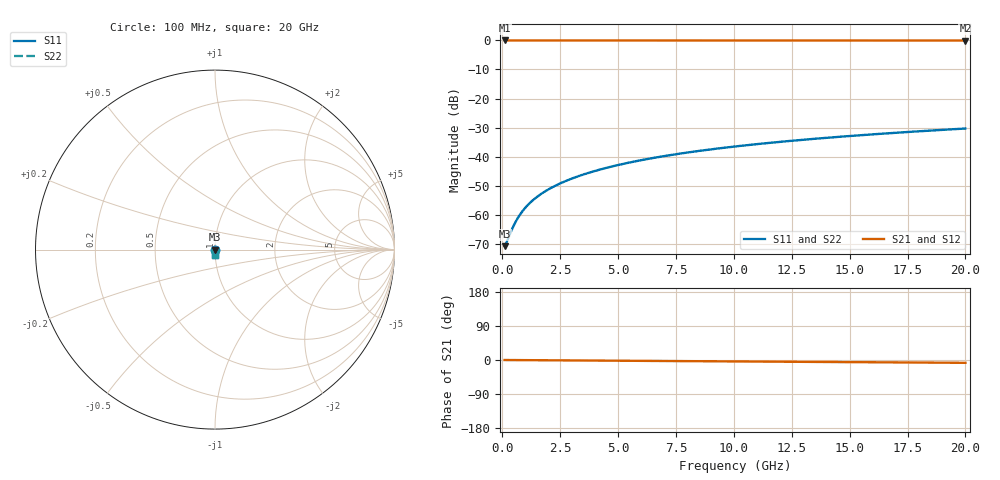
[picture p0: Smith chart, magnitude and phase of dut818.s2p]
! Touchstone file exported from HFSS 2026.1.0
!  File:  C:/ffzhzh/LocalFiles/Ansys_Project_Files/temp_train_TSV_818_1783184441_43440.aedt
!  Generated:  01:02:09 AM Jul  5, 2026
!  Design:  TSV
!  Project:  temp_train_TSV_818_1783184441_43440
! Variables:
!  h_bsmrdl = 2um
!  h_ox = 20um
!  h_rdl = 5um
!  h_sub = 78.14um
!  h_tmrdl = 5um
!  h_tsv = 78.14um
!  h_via = 3um
!  l_bsmrdl = 300um
!  l_sub = 412.6um
!  l_tmrdl = 200um
!  m_sub = 200um
!  pitch = 20.47um
!  r_tsv = 6.3um
!  s_tmrdl = 10um
!  w_bsmrdl = 18um
!  w_sub = 500um
!  w_tmrdl = 12um
!  x_tsv_center1 = 206um
!  x_tsv_center2 = 524um
!  x_tsv_center3 = 736um
!  x_tsv_center4 = 1054um
!  x_tsv_center5 = 1266um
!  x_tsv_center6 = 1584um
# GHz S MA R 50.000000
! Terminal data exported
! Port[1] = TSV1_1_T1
! Port[2] = TSV1_1_T2
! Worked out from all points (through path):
!   200 points, 100 MHz to 20 GHz, reference 50 ohm
!   highest |S21| = 0.00 dB at 100 MHz (marker M1); lowest = 0.0 dB at 20 GHz (marker M2)
!   group delay of S21, straight-line fit = 1.03 ps
!   lowest |S11| = -70.9 dB at 100 MHz (marker M3), VSWR 1.00, Z = 50 - j0.009 ohm
!   |S11| at or under -10 dB: start of sweep to end of sweep
!   |S22| runs from -70.9 to -30.3 dB; largest |S21 - S12| = 3.5e-15
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0.1  0.0002867 -18.3  0.9997 -0.0  0.9997 -0.0  0.0002867 -18.3
! Gamma 0 0 0 0
! Port Impedance 50 0 50 0
0.2  0.0003466 -32.5  0.9997 -0.1  0.9997 -0.1  0.0003466 -32.5
0.4  0.0005397 -49.2  0.9996 -0.2  0.9996 -0.2  0.0005397 -49.2
0.5  0.0006578 -54.3  0.9996 -0.2  0.9996 -0.2  0.0006578 -54.3
0.7  0.0009151 -61.3  0.9996 -0.3  0.9996 -0.3  0.0009151 -61.3
0.8  0.00105 -63.9  0.9995 -0.3  0.9995 -0.3  0.00105 -63.9
1  0.001325 -67.9  0.9995 -0.4  0.9995 -0.4  0.001325 -67.9
1.3  0.001744 -72.0  0.9994 -0.5  0.9994 -0.5  0.001744 -72.0
1.7  0.002308 -75.4  0.9994 -0.7  0.9994 -0.7  0.002308 -75.4
2.2  0.003021 -78.1  0.9993 -0.8  0.9993 -0.8  0.003021 -78.1
2.8  0.003887 -80.1  0.9992 -1.1  0.9992 -1.1  0.003887 -80.1
3.5  0.004913 -81.6  0.9992 -1.3  0.9992 -1.3  0.004913 -81.6
4.2  0.005953 -82.8  0.9991 -1.6  0.9991 -1.6  0.005953 -82.8
5  0.007158 -83.8  0.999 -1.9  0.999 -1.9  0.007158 -83.8
5.9  0.008527 -84.8  0.9989 -2.2  0.9989 -2.2  0.008527 -84.8
6.8  0.009906 -85.7  0.9988 -2.6  0.9988 -2.6  0.009906 -85.7
8.3  0.01222 -86.9  0.9986 -3.1  0.9986 -3.1  0.01222 -86.9
10.1  0.015 -88.3  0.9984 -3.8  0.9984 -3.8  0.015 -88.3
11.7  0.01748 -89.3  0.9983 -4.4  0.9983 -4.4  0.01748 -89.3
13.4  0.02012 -90.3  0.9981 -5.0  0.9981 -5.0  0.02012 -90.3
16.7  0.02526 -92.0  0.9978 -6.2  0.9978 -6.2  0.02526 -92.0
20  0.03042 -93.6  0.9975 -7.4  0.9975 -7.4  0.03042 -93.6
